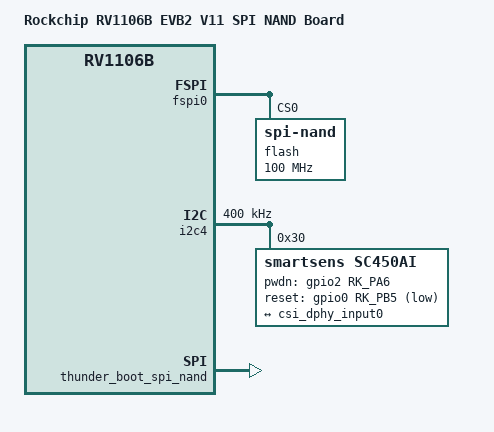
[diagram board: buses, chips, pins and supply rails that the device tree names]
// SPDX-License-Identifier: (GPL-2.0+ OR MIT)
/*
 * Copyright (c) 2025 Rockchip Electronics Co., Ltd.
 */

/dts-v1/;

#include "rv1106b.dtsi"
#include "rv1106b-evb2-v10.dtsi"
#include "rv1106b-thunder-boot-cam.dtsi"
#include "rv1106b-thunder-boot-spi-nand.dtsi"

/ {
	model = "Rockchip RV1106B EVB2 V11 SPI NAND Board";
	compatible = "rockchip,rv1106b-evb2-v11-400w-spi-nand-tb", "rockchip,rv1106b";

	chosen {
		bootargs = "loglevel=0 earlycon=uart8250,mmio32,0x20540000 console=ttyFIQ0 root=/dev/rd0 rootfstype=erofs rootflags=dax snd_soc_core.prealloc_buffer_size_kbytes=16 coherent_pool=32K";
	};
};

&fspi0 {
	status = "okay";

	flash@0 {
		compatible = "spi-nand";
		reg = <0>;
		spi-max-frequency = <100000000>;
		spi-rx-bus-width = <4>;
		spi-tx-bus-width = <1>;
	};
};

&i2c4 {
	clock-frequency = <400000>;
	pinctrl-names = "default";
	pinctrl-0 = <&i2c4m1_xfer_pins>;
	rockchip,amp-shared;
	status = "okay";

	sc450ai: sc450ai@30 {
		compatible = "smartsens,sc450ai";
		reg = <0x30>;
		clocks = <&cru CLK_MIPI0_OUT2IO>;
		clock-names = "xvclk";
		pwdn-gpios = <&gpio2 RK_PA6 GPIO_ACTIVE_HIGH>;
		reset-gpios = <&gpio0 RK_PB5 GPIO_ACTIVE_LOW>;
		pinctrl-names = "default";
		pinctrl-0 = <&cam_clk0_pins>;
		rockchip,camera-module-index = <0>;
		rockchip,camera-module-facing = "back";
		rockchip,camera-module-name = "default";
		rockchip,camera-module-lens-name = "default";
		port {
			cam0_out: endpoint {
				remote-endpoint = <&csi_dphy_input0>;
				data-lanes = <1 2 3 4>;
			};
		};
	};
};

&rkisp_thunderboot {
	/* reg's offset MUST match with RTOS */
	/*
	 * vicap, capture raw10, ceil(w*10/8/256)*256*h *3(buf num) + sizeof(rkisp_thunderboot_resmem_head)
	 * In RV1103B the size of rkisp_thunderboot_resmem_head is 0x9000, and it is 0x6000 in RV1103/RV1106
	 * e.g. 2688x1520: 0xf96000(raw picture size) + 0x9000 = 0xf9f000
	 */
	reg = <0x00860000 0xf9f000>;
};

&ramdisk_r {
	reg = <0x17ff000 (20 * 0x00100000)>;
};

&ramdisk_c {
	reg = <0x2bff000 (10 * 0x00100000)>;
};

&thunder_boot_spi_nand {
	status = "okay";
};
